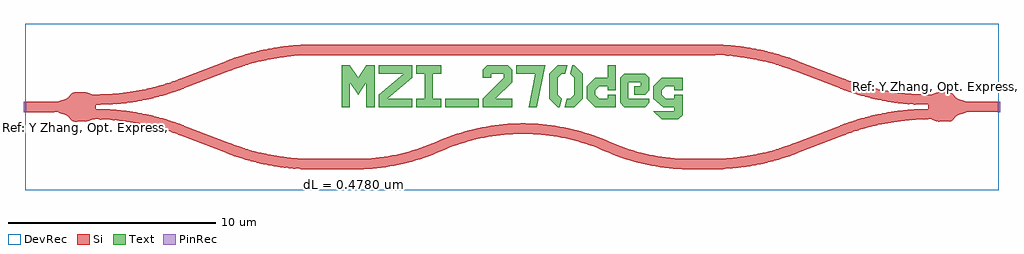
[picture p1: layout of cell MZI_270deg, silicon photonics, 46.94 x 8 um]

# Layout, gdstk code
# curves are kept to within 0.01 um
import gdstk
lib = gdstk.Library(unit=1e-6, precision=1e-09)
def R(c, l, rs):  # rectangles x0, y0, x1, y1
    for r in rs: c.add(gdstk.rectangle(r[:2], r[2:], *l))
def P(c, l, *ps):  # polygons
    for p in ps: c.add(gdstk.Polygon(p, *l))
Si = (1, 0)
PinRec = (1, 10)
Text = (10, 0)
DevRec = (68, 0)

optical_port1_1 = lib.new_cell('optical_port1$1')
optical_port1_1.add(gdstk.FlexPath([(0.05,0),(-0.05,0)], 0.5, ends="flush", simple_path=True, layer=1, datatype=10))  # PinRec
optical_port1_1.add(gdstk.FlexPath([(0.05,0),(-0.05,0)], 0.5, ends="flush", simple_path=True, layer=1, datatype=10))  # PinRec
optical_port1_1.add(gdstk.FlexPath([(0.05,0),(-0.05,0)], 0.5, ends="flush", simple_path=True, layer=1, datatype=10))  # PinRec
optical_port1_1.add(gdstk.FlexPath([(0.05,0),(-0.05,0)], 0.5, ends="flush", simple_path=True, layer=1, datatype=10))  # PinRec
optical_port1_1.add(gdstk.FlexPath([(0.05,0),(-0.05,0)], 0.5, ends="flush", simple_path=True, layer=1, datatype=10))  # PinRec
optical_port1_1.add(gdstk.FlexPath([(0.05,0),(-0.05,0)], 0.5, ends="flush", simple_path=True, layer=1, datatype=10))  # PinRec
optical_port1_1.add(gdstk.FlexPath([(0.05,0),(-0.05,0)], 0.5, ends="flush", simple_path=True, layer=1, datatype=10))  # PinRec
optical_port1_1.add(gdstk.FlexPath([(0.05,0),(-0.05,0)], 0.5, ends="flush", simple_path=True, layer=1, datatype=10))  # PinRec
optical_port1_1.add(gdstk.FlexPath([(0.05,0),(-0.05,0)], 0.5, ends="flush", simple_path=True, layer=1, datatype=10))  # PinRec
optical_port1_1.add(gdstk.FlexPath([(0.05,0),(-0.05,0)], 0.5, ends="flush", simple_path=True, layer=1, datatype=10))  # PinRec
optical_port1_1.add(gdstk.FlexPath([(0.05,0),(-0.05,0)], 0.5, ends="flush", simple_path=True, layer=1, datatype=10))  # PinRec
optical_port1_1.add(gdstk.FlexPath([(0.05,0),(-0.05,0)], 0.5, ends="flush", simple_path=True, layer=1, datatype=10))  # PinRec
optical_port1_1.add(gdstk.FlexPath([(0.05,0),(-0.05,0)], 0.5, ends="flush", simple_path=True, layer=1, datatype=10))  # PinRec
optical_port1_1.add(gdstk.FlexPath([(0.05,0),(-0.05,0)], 0.5, ends="flush", simple_path=True, layer=1, datatype=10))  # PinRec
optical_port1_1.add(gdstk.FlexPath([(0.05,0),(-0.05,0)], 0.5, ends="flush", simple_path=True, layer=1, datatype=10))  # PinRec
optical_port1_1.add(gdstk.FlexPath([(0.05,0),(-0.05,0)], 0.5, ends="flush", simple_path=True, layer=1, datatype=10))  # PinRec
optical_port1_1.add(gdstk.FlexPath([(0.05,0),(-0.05,0)], 0.5, ends="flush", simple_path=True, layer=1, datatype=10))  # PinRec
optical_port1_1.add(gdstk.FlexPath([(0.05,0),(-0.05,0)], 0.5, ends="flush", simple_path=True, layer=1, datatype=10))  # PinRec
optical_port1_1.add(gdstk.FlexPath([(0.05,0),(-0.05,0)], 0.5, ends="flush", simple_path=True, layer=1, datatype=10))  # PinRec
optical_port1_1.add(gdstk.FlexPath([(0.05,0),(-0.05,0)], 0.5, ends="flush", simple_path=True, layer=1, datatype=10))  # PinRec
optical_port1_1.add(gdstk.FlexPath([(0.05,0),(-0.05,0)], 0.5, ends="flush", simple_path=True, layer=1, datatype=10))  # PinRec
optical_port1_1.add(gdstk.FlexPath([(0.05,0),(-0.05,0)], 0.5, ends="flush", simple_path=True, layer=1, datatype=10))  # PinRec
optical_port1_1.add(gdstk.FlexPath([(0.05,0),(-0.05,0)], 0.5, ends="flush", simple_path=True, layer=1, datatype=10))  # PinRec
optical_port1_1.add(gdstk.FlexPath([(0.05,0),(-0.05,0)], 0.5, ends="flush", simple_path=True, layer=1, datatype=10))  # PinRec
optical_port1_1.add(gdstk.FlexPath([(0.05,0),(-0.05,0)], 0.5, ends="flush", simple_path=True, layer=1, datatype=10))  # PinRec
optical_port1_1.add(gdstk.FlexPath([(0.05,0),(-0.05,0)], 0.5, ends="flush", simple_path=True, layer=1, datatype=10))  # PinRec
optical_port1_1.add(gdstk.FlexPath([(0.05,0),(-0.05,0)], 0.5, ends="flush", simple_path=True, layer=1, datatype=10))  # PinRec
optical_port1_1.add(gdstk.FlexPath([(0.05,0),(-0.05,0)], 0.5, ends="flush", simple_path=True, layer=1, datatype=10))  # PinRec
optical_port1_1.add(gdstk.FlexPath([(0.05,0),(-0.05,0)], 0.5, ends="flush", simple_path=True, layer=1, datatype=10))  # PinRec
optical_port1_1.add(gdstk.FlexPath([(0.05,0),(-0.05,0)], 0.5, ends="flush", simple_path=True, layer=1, datatype=10))  # PinRec
optical_port1_1.add(gdstk.FlexPath([(0.05,0),(-0.05,0)], 0.5, ends="flush", simple_path=True, layer=1, datatype=10))  # PinRec
optical_port1_1.add(gdstk.FlexPath([(0.05,0),(-0.05,0)], 0.5, ends="flush", simple_path=True, layer=1, datatype=10))  # PinRec
optical_port1_1.add(gdstk.FlexPath([(0.05,0),(-0.05,0)], 0.5, ends="flush", simple_path=True, layer=1, datatype=10))  # PinRec
optical_port1_1.add(gdstk.FlexPath([(0.05,0),(-0.05,0)], 0.5, ends="flush", simple_path=True, layer=1, datatype=10))  # PinRec
optical_port1_1.add(gdstk.FlexPath([(0.05,0),(-0.05,0)], 0.5, ends="flush", simple_path=True, layer=1, datatype=10))  # PinRec
optical_port1_1.add(gdstk.FlexPath([(0.05,0),(-0.05,0)], 0.5, ends="flush", simple_path=True, layer=1, datatype=10))  # PinRec
optical_port1_1.add(gdstk.FlexPath([(0.05,0),(-0.05,0)], 0.5, ends="flush", simple_path=True, layer=1, datatype=10))  # PinRec
optical_port1_1.add(gdstk.FlexPath([(0.05,0),(-0.05,0)], 0.5, ends="flush", simple_path=True, layer=1, datatype=10))  # PinRec
optical_port1_1.add(gdstk.FlexPath([(0.05,0),(-0.05,0)], 0.5, ends="flush", simple_path=True, layer=1, datatype=10))  # PinRec
optical_port1_1.add(gdstk.FlexPath([(0.05,0),(-0.05,0)], 0.5, ends="flush", simple_path=True, layer=1, datatype=10))  # PinRec
optical_port1_1.add(gdstk.FlexPath([(0.05,0),(-0.05,0)], 0.5, ends="flush", simple_path=True, layer=1, datatype=10))  # PinRec
optical_port1_1.add(gdstk.FlexPath([(0.05,0),(-0.05,0)], 0.5, ends="flush", simple_path=True, layer=1, datatype=10))  # PinRec
optical_port1_1.add(gdstk.Label('o1', (0,0), layer=1, texttype=10))
optical_port1_1.add(gdstk.Label('o1', (0,0), layer=1, texttype=10))
optical_port1_1.add(gdstk.Label('o1', (0,0), layer=1, texttype=10))
optical_port1_1.add(gdstk.Label('o1', (0,0), layer=1, texttype=10))
optical_port1_1.add(gdstk.Label('o1', (0,0), layer=1, texttype=10))
optical_port1_1.add(gdstk.Label('o1', (0,0), layer=1, texttype=10))
optical_port1_1.add(gdstk.Label('o1', (0,0), layer=1, texttype=10))
optical_port1_1.add(gdstk.Label('o1', (0,0), layer=1, texttype=10))
optical_port1_1.add(gdstk.Label('o1', (0,0), layer=1, texttype=10))
optical_port1_1.add(gdstk.Label('o1', (0,0), layer=1, texttype=10))
optical_port1_1.add(gdstk.Label('o1', (0,0), layer=1, texttype=10))
optical_port1_1.add(gdstk.Label('o1', (0,0), layer=1, texttype=10))
optical_port1_1.add(gdstk.Label('o1', (0,0), layer=1, texttype=10))
optical_port1_1.add(gdstk.Label('o1', (0,0), layer=1, texttype=10))
optical_port1_1.add(gdstk.Label('o1', (0,0), layer=1, texttype=10))
optical_port1_1.add(gdstk.Label('o1', (0,0), layer=1, texttype=10))
optical_port1_1.add(gdstk.Label('o1', (0,0), layer=1, texttype=10))
optical_port1_1.add(gdstk.Label('o1', (0,0), layer=1, texttype=10))
optical_port1_1.add(gdstk.Label('o1', (0,0), layer=1, texttype=10))
optical_port1_1.add(gdstk.Label('o1', (0,0), layer=1, texttype=10))
optical_port1_1.add(gdstk.Label('o1', (0,0), layer=1, texttype=10))
optical_port1_1.add(gdstk.Label('o1', (0,0), layer=1, texttype=10))
optical_port1_1.add(gdstk.Label('o1', (0,0), layer=1, texttype=10))
optical_port1_1.add(gdstk.Label('o1', (0,0), layer=1, texttype=10))
optical_port1_1.add(gdstk.Label('o1', (0,0), layer=1, texttype=10))
optical_port1_1.add(gdstk.Label('o1', (0,0), layer=1, texttype=10))
optical_port1_1.add(gdstk.Label('o1', (0,0), layer=1, texttype=10))
optical_port1_1.add(gdstk.Label('o1', (0,0), layer=1, texttype=10))
optical_port1_1.add(gdstk.Label('o1', (0,0), layer=1, texttype=10))
optical_port1_1.add(gdstk.Label('o1', (0,0), layer=1, texttype=10))
optical_port1_1.add(gdstk.Label('o1', (0,0), layer=1, texttype=10))
optical_port1_1.add(gdstk.Label('o1', (0,0), layer=1, texttype=10))
optical_port1_1.add(gdstk.Label('o1', (0,0), layer=1, texttype=10))
optical_port1_1.add(gdstk.Label('o1', (0,0), layer=1, texttype=10))
optical_port1_1.add(gdstk.Label('o1', (0,0), layer=1, texttype=10))
optical_port1_1.add(gdstk.Label('o1', (0,0), layer=1, texttype=10))
optical_port1_1.add(gdstk.Label('o1', (0,0), layer=1, texttype=10))
optical_port1_1.add(gdstk.Label('o1', (0,0), layer=1, texttype=10))
optical_port1_1.add(gdstk.Label('o1', (0,0), layer=1, texttype=10))
optical_port1_1.add(gdstk.Label('o1', (0,0), layer=1, texttype=10))
optical_port1_1.add(gdstk.Label('o1', (0,0), layer=1, texttype=10))
optical_port1_1.add(gdstk.Label('o1', (0,0), layer=1, texttype=10))

optical_port2_1 = lib.new_cell('optical_port2$1')
optical_port2_1.add(gdstk.FlexPath([(-0.05,0),(0.05,0)], 0.5, ends="flush", simple_path=True, layer=1, datatype=10))  # PinRec
optical_port2_1.add(gdstk.FlexPath([(-0.05,0),(0.05,0)], 0.5, ends="flush", simple_path=True, layer=1, datatype=10))  # PinRec
optical_port2_1.add(gdstk.FlexPath([(-0.05,0),(0.05,0)], 0.5, ends="flush", simple_path=True, layer=1, datatype=10))  # PinRec
optical_port2_1.add(gdstk.FlexPath([(-0.05,0),(0.05,0)], 0.5, ends="flush", simple_path=True, layer=1, datatype=10))  # PinRec
optical_port2_1.add(gdstk.FlexPath([(-0.05,0),(0.05,0)], 0.5, ends="flush", simple_path=True, layer=1, datatype=10))  # PinRec
optical_port2_1.add(gdstk.FlexPath([(-0.05,0),(0.05,0)], 0.5, ends="flush", simple_path=True, layer=1, datatype=10))  # PinRec
optical_port2_1.add(gdstk.FlexPath([(-0.05,0),(0.05,0)], 0.5, ends="flush", simple_path=True, layer=1, datatype=10))  # PinRec
optical_port2_1.add(gdstk.FlexPath([(-0.05,0),(0.05,0)], 0.5, ends="flush", simple_path=True, layer=1, datatype=10))  # PinRec
optical_port2_1.add(gdstk.FlexPath([(-0.05,0),(0.05,0)], 0.5, ends="flush", simple_path=True, layer=1, datatype=10))  # PinRec
optical_port2_1.add(gdstk.FlexPath([(-0.05,0),(0.05,0)], 0.5, ends="flush", simple_path=True, layer=1, datatype=10))  # PinRec
optical_port2_1.add(gdstk.FlexPath([(-0.05,0),(0.05,0)], 0.5, ends="flush", simple_path=True, layer=1, datatype=10))  # PinRec
optical_port2_1.add(gdstk.FlexPath([(-0.05,0),(0.05,0)], 0.5, ends="flush", simple_path=True, layer=1, datatype=10))  # PinRec
optical_port2_1.add(gdstk.FlexPath([(-0.05,0),(0.05,0)], 0.5, ends="flush", simple_path=True, layer=1, datatype=10))  # PinRec
optical_port2_1.add(gdstk.FlexPath([(-0.05,0),(0.05,0)], 0.5, ends="flush", simple_path=True, layer=1, datatype=10))  # PinRec
optical_port2_1.add(gdstk.FlexPath([(-0.05,0),(0.05,0)], 0.5, ends="flush", simple_path=True, layer=1, datatype=10))  # PinRec
optical_port2_1.add(gdstk.FlexPath([(-0.05,0),(0.05,0)], 0.5, ends="flush", simple_path=True, layer=1, datatype=10))  # PinRec
optical_port2_1.add(gdstk.FlexPath([(-0.05,0),(0.05,0)], 0.5, ends="flush", simple_path=True, layer=1, datatype=10))  # PinRec
optical_port2_1.add(gdstk.FlexPath([(-0.05,0),(0.05,0)], 0.5, ends="flush", simple_path=True, layer=1, datatype=10))  # PinRec
optical_port2_1.add(gdstk.FlexPath([(-0.05,0),(0.05,0)], 0.5, ends="flush", simple_path=True, layer=1, datatype=10))  # PinRec
optical_port2_1.add(gdstk.FlexPath([(-0.05,0),(0.05,0)], 0.5, ends="flush", simple_path=True, layer=1, datatype=10))  # PinRec
optical_port2_1.add(gdstk.FlexPath([(-0.05,0),(0.05,0)], 0.5, ends="flush", simple_path=True, layer=1, datatype=10))  # PinRec
optical_port2_1.add(gdstk.FlexPath([(-0.05,0),(0.05,0)], 0.5, ends="flush", simple_path=True, layer=1, datatype=10))  # PinRec
optical_port2_1.add(gdstk.FlexPath([(-0.05,0),(0.05,0)], 0.5, ends="flush", simple_path=True, layer=1, datatype=10))  # PinRec
optical_port2_1.add(gdstk.FlexPath([(-0.05,0),(0.05,0)], 0.5, ends="flush", simple_path=True, layer=1, datatype=10))  # PinRec
optical_port2_1.add(gdstk.FlexPath([(-0.05,0),(0.05,0)], 0.5, ends="flush", simple_path=True, layer=1, datatype=10))  # PinRec
optical_port2_1.add(gdstk.FlexPath([(-0.05,0),(0.05,0)], 0.5, ends="flush", simple_path=True, layer=1, datatype=10))  # PinRec
optical_port2_1.add(gdstk.FlexPath([(-0.05,0),(0.05,0)], 0.5, ends="flush", simple_path=True, layer=1, datatype=10))  # PinRec
optical_port2_1.add(gdstk.FlexPath([(-0.05,0),(0.05,0)], 0.5, ends="flush", simple_path=True, layer=1, datatype=10))  # PinRec
optical_port2_1.add(gdstk.FlexPath([(-0.05,0),(0.05,0)], 0.5, ends="flush", simple_path=True, layer=1, datatype=10))  # PinRec
optical_port2_1.add(gdstk.FlexPath([(-0.05,0),(0.05,0)], 0.5, ends="flush", simple_path=True, layer=1, datatype=10))  # PinRec
optical_port2_1.add(gdstk.FlexPath([(-0.05,0),(0.05,0)], 0.5, ends="flush", simple_path=True, layer=1, datatype=10))  # PinRec
optical_port2_1.add(gdstk.FlexPath([(-0.05,0),(0.05,0)], 0.5, ends="flush", simple_path=True, layer=1, datatype=10))  # PinRec
optical_port2_1.add(gdstk.FlexPath([(-0.05,0),(0.05,0)], 0.5, ends="flush", simple_path=True, layer=1, datatype=10))  # PinRec
optical_port2_1.add(gdstk.FlexPath([(-0.05,0),(0.05,0)], 0.5, ends="flush", simple_path=True, layer=1, datatype=10))  # PinRec
optical_port2_1.add(gdstk.FlexPath([(-0.05,0),(0.05,0)], 0.5, ends="flush", simple_path=True, layer=1, datatype=10))  # PinRec
optical_port2_1.add(gdstk.FlexPath([(-0.05,0),(0.05,0)], 0.5, ends="flush", simple_path=True, layer=1, datatype=10))  # PinRec
optical_port2_1.add(gdstk.FlexPath([(-0.05,0),(0.05,0)], 0.5, ends="flush", simple_path=True, layer=1, datatype=10))  # PinRec
optical_port2_1.add(gdstk.FlexPath([(-0.05,0),(0.05,0)], 0.5, ends="flush", simple_path=True, layer=1, datatype=10))  # PinRec
optical_port2_1.add(gdstk.FlexPath([(-0.05,0),(0.05,0)], 0.5, ends="flush", simple_path=True, layer=1, datatype=10))  # PinRec
optical_port2_1.add(gdstk.FlexPath([(-0.05,0),(0.05,0)], 0.5, ends="flush", simple_path=True, layer=1, datatype=10))  # PinRec
optical_port2_1.add(gdstk.FlexPath([(-0.05,0),(0.05,0)], 0.5, ends="flush", simple_path=True, layer=1, datatype=10))  # PinRec
optical_port2_1.add(gdstk.FlexPath([(-0.05,0),(0.05,0)], 0.5, ends="flush", simple_path=True, layer=1, datatype=10))  # PinRec
optical_port2_1.add(gdstk.Label('o2', (0,0), layer=1, texttype=10))
optical_port2_1.add(gdstk.Label('o2', (0,0), layer=1, texttype=10))
optical_port2_1.add(gdstk.Label('o2', (0,0), layer=1, texttype=10))
optical_port2_1.add(gdstk.Label('o2', (0,0), layer=1, texttype=10))
optical_port2_1.add(gdstk.Label('o2', (0,0), layer=1, texttype=10))
optical_port2_1.add(gdstk.Label('o2', (0,0), layer=1, texttype=10))
optical_port2_1.add(gdstk.Label('o2', (0,0), layer=1, texttype=10))
optical_port2_1.add(gdstk.Label('o2', (0,0), layer=1, texttype=10))
optical_port2_1.add(gdstk.Label('o2', (0,0), layer=1, texttype=10))
optical_port2_1.add(gdstk.Label('o2', (0,0), layer=1, texttype=10))
optical_port2_1.add(gdstk.Label('o2', (0,0), layer=1, texttype=10))
optical_port2_1.add(gdstk.Label('o2', (0,0), layer=1, texttype=10))
optical_port2_1.add(gdstk.Label('o2', (0,0), layer=1, texttype=10))
optical_port2_1.add(gdstk.Label('o2', (0,0), layer=1, texttype=10))
optical_port2_1.add(gdstk.Label('o2', (0,0), layer=1, texttype=10))
optical_port2_1.add(gdstk.Label('o2', (0,0), layer=1, texttype=10))
optical_port2_1.add(gdstk.Label('o2', (0,0), layer=1, texttype=10))
optical_port2_1.add(gdstk.Label('o2', (0,0), layer=1, texttype=10))
optical_port2_1.add(gdstk.Label('o2', (0,0), layer=1, texttype=10))
optical_port2_1.add(gdstk.Label('o2', (0,0), layer=1, texttype=10))
optical_port2_1.add(gdstk.Label('o2', (0,0), layer=1, texttype=10))
optical_port2_1.add(gdstk.Label('o2', (0,0), layer=1, texttype=10))
optical_port2_1.add(gdstk.Label('o2', (0,0), layer=1, texttype=10))
optical_port2_1.add(gdstk.Label('o2', (0,0), layer=1, texttype=10))
optical_port2_1.add(gdstk.Label('o2', (0,0), layer=1, texttype=10))
optical_port2_1.add(gdstk.Label('o2', (0,0), layer=1, texttype=10))
optical_port2_1.add(gdstk.Label('o2', (0,0), layer=1, texttype=10))
optical_port2_1.add(gdstk.Label('o2', (0,0), layer=1, texttype=10))
optical_port2_1.add(gdstk.Label('o2', (0,0), layer=1, texttype=10))
optical_port2_1.add(gdstk.Label('o2', (0,0), layer=1, texttype=10))
optical_port2_1.add(gdstk.Label('o2', (0,0), layer=1, texttype=10))
optical_port2_1.add(gdstk.Label('o2', (0,0), layer=1, texttype=10))
optical_port2_1.add(gdstk.Label('o2', (0,0), layer=1, texttype=10))
optical_port2_1.add(gdstk.Label('o2', (0,0), layer=1, texttype=10))
optical_port2_1.add(gdstk.Label('o2', (0,0), layer=1, texttype=10))
optical_port2_1.add(gdstk.Label('o2', (0,0), layer=1, texttype=10))
optical_port2_1.add(gdstk.Label('o2', (0,0), layer=1, texttype=10))
optical_port2_1.add(gdstk.Label('o2', (0,0), layer=1, texttype=10))
optical_port2_1.add(gdstk.Label('o2', (0,0), layer=1, texttype=10))
optical_port2_1.add(gdstk.Label('o2', (0,0), layer=1, texttype=10))
optical_port2_1.add(gdstk.Label('o2', (0,0), layer=1, texttype=10))
optical_port2_1.add(gdstk.Label('o2', (0,0), layer=1, texttype=10))

text_tmzi_270deg_s2_p16_ = lib.new_cell('text_TMZI_270deg_S2_P16_3722cd87')
R(text_tmzi_270deg_s2_p16_, Text, [(12.82,0,14.42,0.4)])
P(text_tmzi_270deg_s2_p16_, Text, [(23.22,-0.6),(22.82,-0.2),(23.82,-0.2),(23.82,0),(23.288,0),(22.82,0.4),(22.82,1),(23.22,1.4),(24.22,1.4),(24.22,0.8),(23.82,0.8),(23.82,1),(23.42,1),(23.22,0.8),(23.22,0.6),(23.42,0.4),(23.82,0.4),(23.82,0.6),(24.22,0.6),(24.22,-0.4),(24.02,-0.6)],
  [(21.42,0),(21.22,0.2),(21.22,1.4),(21.42,1.6),(22.42,1.6),(22.62,1.4),(22.62,0.8),(22.42,0.6),(21.9,0.6),(21.9,1),(22.22,1),(22.22,1.2),(21.62,1.2),(21.62,0.4),(22.62,0.4),(22.62,0.2),(22.42,0)],
  [(7.82,0),(7.82,2),(8.22,2),(8.62,1.4),(9.02,2),(9.42,2),(9.42,0),(9.02,0),(9.02,1.2),(8.62,0.6),(8.22,1.2),(8.22,0)],
  [(9.62,0),(9.62,0.6),(10.82,1.6),(9.62,1.6),(9.62,2),(11.22,2),(11.22,1.4),(10.02,0.4),(11.22,0.4),(11.22,0)],
  [(11.42,0),(11.42,0.4),(11.82,0.4),(11.82,1.6),(11.42,1.6),(11.42,2),(12.62,2),(12.62,1.6),(12.22,1.6),(12.22,0.4),(12.62,0.4),(12.62,0)],
  [(14.62,0),(14.62,0.4),(15.62,1.4),(15.62,1.6),(15.02,1.6),(15.02,1.4),(14.62,1.4),(14.62,1.8),(14.82,2),(15.82,2),(16.02,1.8),(16.02,1.2),(15.22,0.4),(16.02,0.4),(16.02,0)],
  [(16.82,0),(17.14,1.6),(16.22,1.6),(16.22,2),(17.62,2),(17.22,0)],
  [(18.22,0),(17.82,0.4),(17.82,1.6),(18.22,2),(18.68,2),(18.58,1.6),(18.42,1.6),(18.22,1.4),(18.22,0.6),(18.42,0.4),(18.32,0)],
  [(18.56,0),(18.66,0.4),(18.82,0.4),(19.02,0.6),(19.02,1.4),(18.82,1.6),(18.92,2),(19.02,2),(19.42,1.6),(19.42,0.4),(19.02,0)],
  [(20.02,0),(19.62,0.4),(19.62,1),(20.02,1.4),(20.62,1.4),(20.62,2),(21.02,2),(21.02,0.8),(20.62,0.8),(20.62,1),(20.22,1),(20.02,0.8),(20.02,0.6),(20.22,0.4),(20.62,0.4),(20.62,0.6),(21.02,0.6),(21.02,0)])

mzi_270deg = lib.new_cell('MZI_270deg')
P(mzi_270deg, Si, [(6.458,-3),(5.718,-2.974),(4.993,-2.903),(4.257,-2.784),(3.509,-2.613),(3.017,-2.472),(2.491,-2.295),(-0.369,-1.202),(-1.123,-0.974),(-1.826,-0.812),(-2.677,-0.678),(-3.601,-0.607),(-4.123,-0.595),(-4.492,-0.699),(-4.991,-0.701),(-5.077,-0.683),(-5.145,-0.647),(-5.344,-0.44),(-5.434,-0.378),(-5.833,-0.25),(-7.4,-0.25),(-7.4,0.25),(-5.833,0.25),(-5.434,0.378),(-5.344,0.44),(-5.145,0.647),(-5.077,0.683),(-4.991,0.701),(-4.492,0.699),(-4.123,0.595),(-3.501,0.611),(-2.619,0.685),(-1.693,0.839),(-0.976,1.014),(-0.334,1.214),(2.412,2.266),(3.109,2.5),(6.456,2.5),(5.796,2.478),(5.119,2.415),(4.414,2.305),(3.799,2.171),(3.282,2.03),(2.706,1.841),(0.088,0.834),(-0.72,0.567),(-1.565,0.355),(-2.381,0.212),(-3.16,0.13),(-4,0.1),(-4,-0.1),(-3.265,-0.123),(-2.564,-0.188),(-1.895,-0.29),(-1.214,-0.435),(-0.612,-0.599),(-0.086,-0.771),(2.532,-1.777),(3.336,-2.046),(3.962,-2.21),(4.54,-2.328),(5.119,-2.415),(5.678,-2.47),(6.344,-2.499),(8.655,-2.498),(9.264,-2.466),(9.869,-2.397),(10.667,-2.245),(11.255,-2.088),(12.023,-1.823),(12.782,-1.505),(13.173,-1.36),(13.769,-1.172),(14.172,-1.068),(14.579,-0.979),(15.196,-0.878),(15.818,-0.815),(16.442,-0.79),(17.067,-0.802),(17.689,-0.853),(18.308,-0.942),(18.92,-1.068),(19.323,-1.172),(19.919,-1.36),(20.31,-1.505),(21.068,-1.823),(21.642,-2.028),(22.227,-2.197),(23.022,-2.365),(23.625,-2.447),(24.436,-2.498),(25.756,-2.498),(26.488,-2.46),(27.036,-2.4),(27.625,-2.305),(28.24,-2.171),(28.757,-2.03),(29.507,-1.777),(32.008,-0.813),(32.461,-0.658),(32.999,-0.5),(33.796,-0.316),(34.532,-0.197),(35.288,-0.124),(36.039,-0.1),(36.039,0.1),(35.304,0.123),(34.603,0.188),(33.934,0.29),(33.253,0.435),(32.651,0.599),(32.125,0.771),(29.507,1.777),(28.757,2.03),(28.24,2.171),(27.667,2.297),(27.08,2.394),(26.567,2.453),(26.081,2.487),(25.583,2.5),(3.109,2.5),(3.59,2.634),(4.147,2.762),(4.757,2.87),(5.294,2.938),(5.868,2.983),(6.458,3),(25.581,3),(26.446,2.965),(27.046,2.903),(27.644,2.81),(28.229,2.688),(28.819,2.533),(29.627,2.266),(32.373,1.214),(33.015,1.014),(33.732,0.839),(34.658,0.685),(35.54,0.611),(36.162,0.595),(36.531,0.699),(37.03,0.701),(37.116,0.683),(37.184,0.647),(37.383,0.44),(37.473,0.378),(37.872,0.25),(39.439,0.25),(39.439,-0.25),(37.872,-0.25),(37.473,-0.378),(37.383,-0.44),(37.184,-0.647),(37.116,-0.683),(37.03,-0.701),(36.531,-0.699),(36.162,-0.595),(35.54,-0.611),(34.658,-0.685),(33.732,-0.839),(33.015,-1.014),(32.373,-1.214),(29.627,-2.266),(28.937,-2.498),(28.449,-2.634),(27.892,-2.762),(27.282,-2.87),(26.745,-2.938),(25.848,-2.996),(24.425,-2.998),(23.573,-2.944),(22.939,-2.858),(22.311,-2.732),(21.488,-2.504),(20.885,-2.288),(20.126,-1.97),(19.755,-1.832),(19.378,-1.709),(18.804,-1.554),(18.222,-1.434),(17.634,-1.35),(17.041,-1.302),(16.447,-1.29),(15.853,-1.314),(15.458,-1.35),(14.87,-1.434),(14.288,-1.554),(13.714,-1.709),(13.337,-1.832),(12.966,-1.97),(12.206,-2.288),(11.603,-2.504),(10.78,-2.732),(10.152,-2.858),(9.518,-2.944),(8.879,-2.991)])
R(mzi_270deg, DevRec, [(-7.4,-4,39.439,4)])
mzi_270deg.add(gdstk.Reference(optical_port1_1, (-7.4,0)))
mzi_270deg.add(gdstk.Reference(optical_port2_1, (39.439,0)))
mzi_270deg.add(gdstk.Reference(text_tmzi_270deg_s2_p16_, (0,0)))
mzi_270deg.add(gdstk.Label('Ref: Y Zhang, Opt. Express, 21/1, 2013', (-5.65,-1), layer=10, texttype=0))
mzi_270deg.add(gdstk.Label('Ref: Y Zhang, Opt. Express, 21/1, 2013', (37.689,1), layer=10, texttype=0))
mzi_270deg.add(gdstk.Label('dL = 0.4780 um', (8.453,-3.75), layer=10, texttype=0))

lib.write_gds('MZI_270deg.gds')
